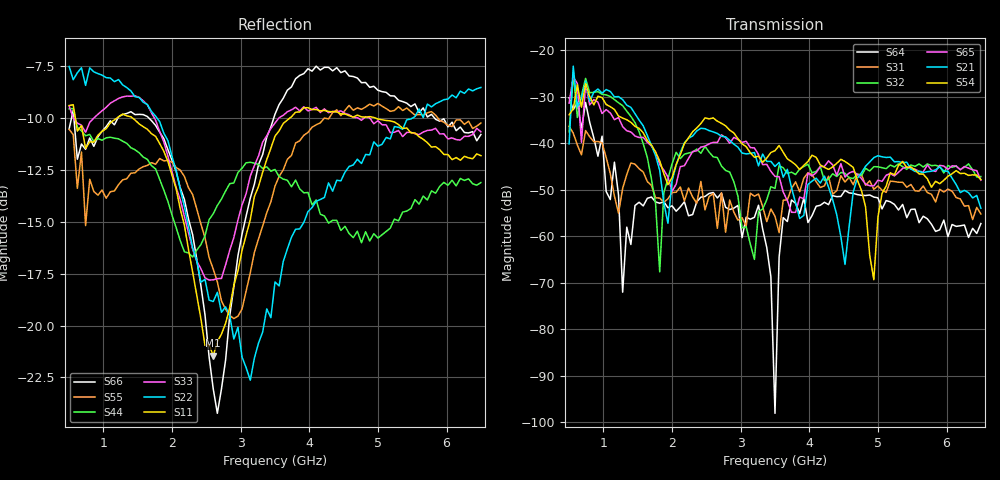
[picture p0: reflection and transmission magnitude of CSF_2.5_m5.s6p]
!Keysight Technologies,M9804A,MY58100912,A.14.10.03
!Date: Thursday, April 27, 2023 10:28:33
!Correction: S11(C  6-Port  )
!S12(C  6-Port  )
!S13(C  6-Port  )
!S14(C  6-Port  )
!S15(C  6-Port  )
!S16(C  6-Port  )
!S21(C  6-Port  )
!S22(C  6-Port  )
!S23(C  6-Port  )
!S24(C  6-Port  )
!S25(C  6-Port  )
!S26(C  6-Port  )
!S31(C  6-Port  )
!S32(C  6-Port  )
!S33(C  6-Port  )
!S34(C  6-Port  )
!S35(C  6-Port  )
!S36(C  6-Port  )
!S41(C  6-Port  )
!S42(C  6-Port  )
!S43(C  6-Port  )
!S44(C  6-Port  )
!S45(C  6-Port  )
!S46(C  6-Port  )
!S51(C  6-Port  )
!S52(C  6-Port  )
!S53(C  6-Port  )
!S54(C  6-Port  )
!S55(C  6-Port  )
!S56(C  6-Port  )
!S61(C  6-Port  )
!S62(C  6-Port  )
!S63(C  6-Port  )
!S64(C  6-Port  )
!S65(C  6-Port  )
!S66(C  6-Port  )
!S6P File: Measurement: :
# Hz S  RI  R 50
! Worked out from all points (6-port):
!   101 points, 500 MHz to 6.5 GHz, reference 50 ohm
!   strongest paths, dB at 500 MHz, 2 GHz, 3.5 GHz, 5 GHz, 6.5 GHz:
!     S54: -33.9, -47.4, -41.6, -55.9, -47.9
!     S21: -40.2, -48.1, -45.0, -42.7, -54.0
!     S65: -31.4, -50.4, -47.2, -48.0, -48.0
!     S32: -37.6, -44.5, -49.8, -45.1, -47.2
!     S31: -36.4, -50.6, -55.7, -49.2, -55.2
!     S64: -30.2, -53.5, -98.1, -51.8, -57.3
!   lowest |S11| = -21.5 dB at 2.6 GHz (marker M1), VSWR 1.18, Z = 42.5 + j2.15 ohm
!   |S11| at or under -10 dB: 590.8 MHz to 1.192 GHz (601.3 MHz wide, 67.4 % of centre); 1.427 GHz to 3.713 GHz (2.285 GHz wide, 88.9 % of centre); 4.971 GHz to end of sweep
